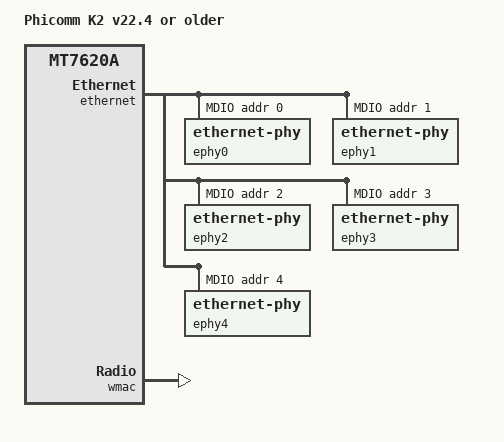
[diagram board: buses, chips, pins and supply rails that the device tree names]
#include "mt7620a_phicomm_k2x.dtsi"

/ {
	compatible = "phicomm,k2-v22.4", "ralink,mt7620a-soc";
	model = "Phicomm K2 v22.4 or older";
};

&partitions {
	partition@50000 {
		compatible = "denx,uimage";
		label = "firmware";
		reg = <0x50000 0x7b0000>;
	};
};

&ethernet {
	mediatek,portmap = "llllw";

	mdio-bus {
		status = "okay";

		ephy0: ethernet-phy@0 {
			reg = <0>;
		};

		ephy1: ethernet-phy@1 {
			reg = <1>;
		};

		ephy2: ethernet-phy@2 {
			reg = <2>;
		};

		ephy3: ethernet-phy@3 {
			reg = <3>;
		};

		ephy4: ethernet-phy@4 {
			reg = <4>;
		};
	};
};

&gsw {
	ports {
		#address-cells = <1>;
		#size-cells = <0>;

		port@0 {
			reg = <0>;
			label = "lan4";
			phy-handle = <&ephy0>;
			phy-mode = "mii";
		};

		port@1 {
			reg = <1>;
			label = "lan3";
			phy-handle = <&ephy1>;
			phy-mode = "mii";
		};

		port@2 {
			reg = <2>;
			label = "lan2";
			phy-handle = <&ephy2>;
			phy-mode = "mii";
		};

		port@3 {
			reg = <3>;
			label = "lan1";
			phy-handle = <&ephy3>;
			phy-mode = "mii";
		};

		port@4 {
			reg = <4>;
			label = "wan";
			phy-handle = <&ephy4>;
			phy-mode = "mii";
		};

		port@6 {
			reg = <6>;
			ethernet = <&ethernet>;
			phy-mode = "rgmii";

			fixed-link {
				speed = <1000>;
				full-duplex;
				pause;
			};
		};
	};
};

&wmac {
	pinctrl-names = "default", "pa_gpio";
	pinctrl-0 = <&pa_pins>;
	pinctrl-1 = <&pa_gpio_pins>;
};
